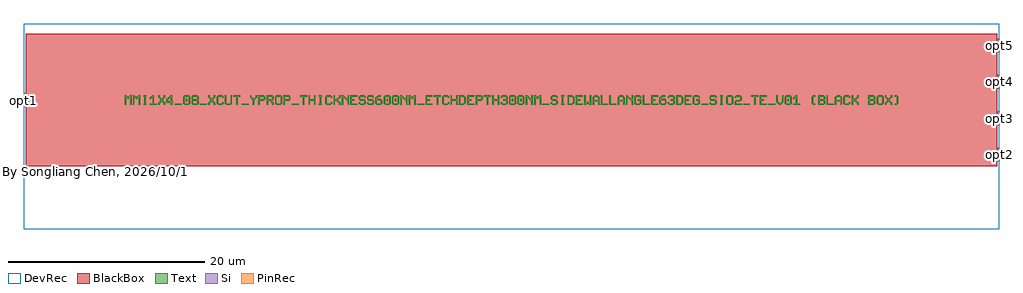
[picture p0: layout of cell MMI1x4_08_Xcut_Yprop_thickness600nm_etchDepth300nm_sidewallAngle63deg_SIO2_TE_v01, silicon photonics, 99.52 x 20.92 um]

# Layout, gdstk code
import gdstk
lib = gdstk.Library(unit=1e-6, precision=1e-10)
def R(c, l, rs):  # rectangles x0, y0, x1, y1
    for r in rs: c.add(gdstk.rectangle(r[:2], r[2:], *l))
def A(c, l, x, y, w, h, nx, ny, dx, dy):  # array of equal rectangles
    R(c, l, [(x+i*dx, y+j*dy, x+i*dx+w, y+j*dy+h) for i in range(nx) for j in range(ny)])
def P(c, l, *ps):  # polygons
    for p in ps: c.add(gdstk.Polygon(p, *l))
Si = (1, 0)
PinRec = (1, 10)
Text = (10, 0)
DevRec = (68, 0)
BlackBox = (998, 0)

text = lib.new_cell('TEXT')
A(text, Text, 17.04, 0, 0.71, 0.142, 3, 1, 12.78, 0)
R(text, Text, [(5.112,0,5.822,0.142), (7.668,0,8.378,0.142), (11.928,0,12.638,0.142), (58.788,0,59.498,0.142), (63.048,0,63.758,0.142), (65.604,0,66.314,0.142), (6.248,0.355,6.39,0.639), (26.696,0.355,26.838,0.639), (27.548,0.355,27.69,0.639), (39.476,0.355,39.618,0.639), (40.328,0.355,40.47,0.639), (67.592,0.355,67.734,0.639)])
P(text, Text, [(0,0),(0,0.995),(0.142,0.995),(0.284,0.852),(0.426,0.852),(0.568,0.995),(0.71,0.995),(0.71,0),(0.568,0),(0.568,0.71),(0.497,0.71),(0.355,0.568),(0.213,0.71),(0.142,0.71),(0.142,0)],
  [(0.852,0),(0.852,0.995),(0.994,0.995),(1.136,0.852),(1.278,0.852),(1.42,0.995),(1.562,0.995),(1.562,0),(1.42,0),(1.42,0.71),(1.349,0.71),(1.207,0.568),(1.065,0.71),(0.994,0.71),(0.994,0)],
  [(1.917,0),(1.917,0.142),(1.988,0.142),(1.988,0.852),(1.917,0.852),(1.917,0.995),(2.201,0.995),(2.201,0.852),(2.13,0.852),(2.13,0.142),(2.201,0.142),(2.201,0)],
  [(2.556,0),(2.556,0.142),(2.84,0.142),(2.84,0.71),(2.769,0.71),(2.627,0.568),(2.556,0.568),(2.556,0.71),(2.84,0.995),(2.982,0.995),(2.982,0.142),(3.266,0.142),(3.266,0)],
  [(3.408,0),(3.408,0.213),(3.621,0.426),(3.621,0.568),(3.408,0.781),(3.408,0.995),(3.55,0.995),(3.55,0.852),(3.763,0.639),(3.976,0.852),(3.976,0.995),(4.118,0.995),(4.118,0.781),(3.905,0.568),(3.905,0.426),(4.118,0.213),(4.118,0),(3.976,0),(3.976,0.142),(3.763,0.355),(3.55,0.142),(3.55,0)],
  [(4.686,0),(4.686,0.213),(4.26,0.213),(4.26,0.355),(4.686,0.355),(4.686,0.71),(4.615,0.71),(4.402,0.497),(4.402,0.355),(4.26,0.355),(4.26,0.568),(4.686,0.995),(4.828,0.995),(4.828,0.355),(4.97,0.355),(4.97,0.213),(4.828,0.213),(4.828,0)],
  [(6.106,0),(5.964,0.142),(5.964,0.852),(6.106,0.995),(6.532,0.995),(6.674,0.852),(6.177,0.852),(6.106,0.781),(6.106,0.213),(6.177,0.142),(6.461,0.142),(6.532,0.213),(6.532,0.781),(6.461,0.852),(6.674,0.852),(6.674,0.142),(6.532,0)],
  [(6.958,0),(6.816,0.142),(6.816,0.426),(6.887,0.497),(6.816,0.568),(6.816,0.852),(6.958,0.995),(7.384,0.995),(7.526,0.852),(7.029,0.852),(6.958,0.781),(6.958,0.639),(7.029,0.568),(7.313,0.568),(7.384,0.639),(7.384,0.781),(7.313,0.852),(7.526,0.852),(7.526,0.568),(7.455,0.497),(7.526,0.426),(7.029,0.426),(6.958,0.355),(6.958,0.213),(7.029,0.142),(7.313,0.142),(7.384,0.213),(7.384,0.355),(7.313,0.426),(7.526,0.426),(7.526,0.142),(7.384,0)],
  [(8.52,0),(8.52,0.213),(8.733,0.426),(8.733,0.568),(8.52,0.781),(8.52,0.995),(8.662,0.995),(8.662,0.852),(8.875,0.639),(9.088,0.852),(9.088,0.995),(9.23,0.995),(9.23,0.781),(9.017,0.568),(9.017,0.426),(9.23,0.213),(9.23,0),(9.088,0),(9.088,0.142),(8.875,0.355),(8.662,0.142),(8.662,0)],
  [(9.514,0),(9.372,0.142),(9.372,0.852),(9.514,0.995),(9.94,0.995),(10.082,0.852),(10.082,0.71),(9.94,0.71),(9.94,0.781),(9.869,0.852),(9.585,0.852),(9.514,0.781),(9.514,0.213),(9.585,0.142),(9.869,0.142),(9.94,0.213),(9.94,0.284),(10.082,0.284),(10.082,0.142),(9.94,0)],
  [(10.366,0),(10.224,0.142),(10.224,0.995),(10.366,0.995),(10.366,0.213),(10.437,0.142),(10.721,0.142),(10.792,0.213),(10.792,0.995),(10.934,0.995),(10.934,0.142),(10.792,0)],
  [(11.36,0),(11.36,0.852),(11.076,0.852),(11.076,0.995),(11.786,0.995),(11.786,0.852),(11.502,0.852),(11.502,0)],
  [(13.064,0),(13.064,0.497),(12.78,0.781),(12.78,0.995),(12.922,0.995),(12.922,0.852),(13.135,0.639),(13.348,0.852),(13.348,0.995),(13.49,0.995),(13.49,0.781),(13.206,0.497),(13.206,0)],
  [(13.632,0),(13.632,0.995),(14.2,0.995),(14.342,0.852),(14.342,0.568),(14.2,0.426),(13.774,0.426),(13.774,0.568),(14.129,0.568),(14.2,0.639),(14.2,0.781),(14.129,0.852),(13.774,0.852),(13.774,0)],
  [(14.484,0),(14.484,0.995),(15.052,0.995),(15.194,0.852),(14.626,0.852),(14.626,0.568),(14.981,0.568),(15.052,0.639),(15.052,0.781),(14.981,0.852),(15.194,0.852),(15.194,0.568),(15.052,0.426),(15.052,0.355),(15.194,0.213),(15.194,0),(15.052,0),(15.052,0.142),(14.768,0.426),(14.626,0.426),(14.626,0)],
  [(15.478,0),(15.336,0.142),(15.336,0.852),(15.478,0.995),(15.904,0.995),(16.046,0.852),(16.046,0.497),(15.904,0.497),(15.904,0.781),(15.833,0.852),(15.549,0.852),(15.478,0.781),(15.478,0.213),(15.549,0.142),(15.833,0.142),(15.904,0.213),(15.904,0.497),(16.046,0.497),(16.046,0.142),(15.904,0)],
  [(16.188,0),(16.188,0.995),(16.756,0.995),(16.898,0.852),(16.898,0.568),(16.756,0.426),(16.33,0.426),(16.33,0.568),(16.685,0.568),(16.756,0.639),(16.756,0.781),(16.685,0.852),(16.33,0.852),(16.33,0)],
  [(18.176,0),(18.176,0.852),(17.892,0.852),(17.892,0.995),(18.602,0.995),(18.602,0.852),(18.318,0.852),(18.318,0)],
  [(18.744,0),(18.744,0.995),(18.886,0.995),(18.886,0.568),(19.312,0.568),(19.312,0.995),(19.454,0.995),(19.454,0),(19.312,0),(19.312,0.426),(18.886,0.426),(18.886,0)],
  [(19.809,0),(19.809,0.142),(19.88,0.142),(19.88,0.852),(19.809,0.852),(19.809,0.995),(20.093,0.995),(20.093,0.852),(20.022,0.852),(20.022,0.142),(20.093,0.142),(20.093,0)],
  [(20.59,0),(20.448,0.142),(20.448,0.852),(20.59,0.995),(21.016,0.995),(21.158,0.852),(21.158,0.71),(21.016,0.71),(21.016,0.781),(20.945,0.852),(20.661,0.852),(20.59,0.781),(20.59,0.213),(20.661,0.142),(20.945,0.142),(21.016,0.213),(21.016,0.284),(21.158,0.284),(21.158,0.142),(21.016,0)],
  [(21.3,0),(21.3,0.995),(21.442,0.995),(21.442,0.568),(21.584,0.568),(21.868,0.852),(21.868,0.995),(22.01,0.995),(22.01,0.781),(21.726,0.497),(22.01,0.213),(22.01,0),(21.868,0),(21.868,0.142),(21.584,0.426),(21.442,0.426),(21.442,0)],
  [(22.152,0),(22.152,0.995),(22.294,0.995),(22.649,0.639),(22.72,0.639),(22.72,0.995),(22.862,0.995),(22.862,0),(22.72,0),(22.72,0.355),(22.365,0.71),(22.294,0.71),(22.294,0)],
  [(23.004,0),(23.004,0.995),(23.714,0.995),(23.714,0.852),(23.146,0.852),(23.146,0.568),(23.43,0.568),(23.43,0.426),(23.146,0.426),(23.146,0.142),(23.714,0.142),(23.714,0)],
  [(23.998,0),(23.856,0.142),(23.856,0.284),(23.998,0.284),(23.998,0.213),(24.069,0.142),(24.353,0.142),(24.424,0.213),(24.424,0.355),(24.353,0.426),(23.998,0.426),(23.856,0.568),(23.856,0.852),(23.998,0.995),(24.424,0.995),(24.566,0.852),(24.566,0.71),(24.424,0.71),(24.424,0.781),(24.353,0.852),(24.069,0.852),(23.998,0.781),(23.998,0.639),(24.069,0.568),(24.424,0.568),(24.566,0.426),(24.566,0.142),(24.424,0)],
  [(24.85,0),(24.708,0.142),(24.708,0.284),(24.85,0.284),(24.85,0.213),(24.921,0.142),(25.205,0.142),(25.276,0.213),(25.276,0.355),(25.205,0.426),(24.85,0.426),(24.708,0.568),(24.708,0.852),(24.85,0.995),(25.276,0.995),(25.418,0.852),(25.418,0.71),(25.276,0.71),(25.276,0.781),(25.205,0.852),(24.921,0.852),(24.85,0.781),(24.85,0.639),(24.921,0.568),(25.276,0.568),(25.418,0.426),(25.418,0.142),(25.276,0)],
  [(25.702,0),(25.56,0.142),(25.56,0.71),(25.844,0.995),(26.128,0.995),(26.128,0.852),(25.915,0.852),(25.773,0.71),(25.773,0.639),(26.128,0.639),(26.27,0.497),(25.773,0.497),(25.702,0.426),(25.702,0.213),(25.773,0.142),(26.057,0.142),(26.128,0.213),(26.128,0.426),(26.057,0.497),(26.27,0.497),(26.27,0.142),(26.128,0)],
  [(26.554,0),(26.412,0.142),(26.412,0.852),(26.554,0.995),(26.98,0.995),(27.122,0.852),(26.625,0.852),(26.554,0.781),(26.554,0.213),(26.625,0.142),(26.909,0.142),(26.98,0.213),(26.98,0.781),(26.909,0.852),(27.122,0.852),(27.122,0.142),(26.98,0)],
  [(27.406,0),(27.264,0.142),(27.264,0.852),(27.406,0.995),(27.832,0.995),(27.974,0.852),(27.477,0.852),(27.406,0.781),(27.406,0.213),(27.477,0.142),(27.761,0.142),(27.832,0.213),(27.832,0.781),(27.761,0.852),(27.974,0.852),(27.974,0.142),(27.832,0)],
  [(28.116,0),(28.116,0.995),(28.258,0.995),(28.613,0.639),(28.684,0.639),(28.684,0.995),(28.826,0.995),(28.826,0),(28.684,0),(28.684,0.355),(28.329,0.71),(28.258,0.71),(28.258,0)],
  [(28.968,0),(28.968,0.995),(29.11,0.995),(29.252,0.852),(29.394,0.852),(29.536,0.995),(29.678,0.995),(29.678,0),(29.536,0),(29.536,0.71),(29.465,0.71),(29.323,0.568),(29.181,0.71),(29.11,0.71),(29.11,0)],
  [(30.672,0),(30.672,0.995),(31.382,0.995),(31.382,0.852),(30.814,0.852),(30.814,0.568),(31.098,0.568),(31.098,0.426),(30.814,0.426),(30.814,0.142),(31.382,0.142),(31.382,0)],
  [(31.808,0),(31.808,0.852),(31.524,0.852),(31.524,0.995),(32.234,0.995),(32.234,0.852),(31.95,0.852),(31.95,0)],
  [(32.518,0),(32.376,0.142),(32.376,0.852),(32.518,0.995),(32.944,0.995),(33.086,0.852),(33.086,0.71),(32.944,0.71),(32.944,0.781),(32.873,0.852),(32.589,0.852),(32.518,0.781),(32.518,0.213),(32.589,0.142),(32.873,0.142),(32.944,0.213),(32.944,0.284),(33.086,0.284),(33.086,0.142),(32.944,0)],
  [(33.228,0),(33.228,0.995),(33.37,0.995),(33.37,0.568),(33.796,0.568),(33.796,0.995),(33.938,0.995),(33.938,0),(33.796,0),(33.796,0.426),(33.37,0.426),(33.37,0)],
  [(34.08,0),(34.08,0.995),(34.577,0.995),(34.719,0.852),(34.222,0.852),(34.222,0.142),(34.506,0.142),(34.648,0.284),(34.648,0.71),(34.506,0.852),(34.719,0.852),(34.79,0.781),(34.79,0.213),(34.577,0)],
  [(34.932,0),(34.932,0.995),(35.642,0.995),(35.642,0.852),(35.074,0.852),(35.074,0.568),(35.358,0.568),(35.358,0.426),(35.074,0.426),(35.074,0.142),(35.642,0.142),(35.642,0)],
  [(35.784,0),(35.784,0.995),(36.352,0.995),(36.494,0.852),(36.494,0.568),(36.352,0.426),(35.926,0.426),(35.926,0.568),(36.281,0.568),(36.352,0.639),(36.352,0.781),(36.281,0.852),(35.926,0.852),(35.926,0)],
  [(36.92,0),(36.92,0.852),(36.636,0.852),(36.636,0.995),(37.346,0.995),(37.346,0.852),(37.062,0.852),(37.062,0)],
  [(37.488,0),(37.488,0.995),(37.63,0.995),(37.63,0.568),(38.056,0.568),(38.056,0.995),(38.198,0.995),(38.198,0),(38.056,0),(38.056,0.426),(37.63,0.426),(37.63,0)],
  [(38.482,0),(38.34,0.142),(38.34,0.284),(38.482,0.284),(38.482,0.213),(38.553,0.142),(38.837,0.142),(38.908,0.213),(38.908,0.355),(38.837,0.426),(38.624,0.426),(38.624,0.568),(38.837,0.568),(38.908,0.639),(38.908,0.781),(38.837,0.852),(38.553,0.852),(38.482,0.781),(38.482,0.71),(38.34,0.71),(38.34,0.852),(38.482,0.995),(38.908,0.995),(39.05,0.852),(39.05,0.568),(38.979,0.497),(39.05,0.426),(39.05,0.142),(38.908,0)],
  [(39.334,0),(39.192,0.142),(39.192,0.852),(39.334,0.995),(39.76,0.995),(39.902,0.852),(39.405,0.852),(39.334,0.781),(39.334,0.213),(39.405,0.142),(39.689,0.142),(39.76,0.213),(39.76,0.781),(39.689,0.852),(39.902,0.852),(39.902,0.142),(39.76,0)],
  [(40.186,0),(40.044,0.142),(40.044,0.852),(40.186,0.995),(40.612,0.995),(40.754,0.852),(40.257,0.852),(40.186,0.781),(40.186,0.213),(40.257,0.142),(40.541,0.142),(40.612,0.213),(40.612,0.781),(40.541,0.852),(40.754,0.852),(40.754,0.142),(40.612,0)],
  [(40.896,0),(40.896,0.995),(41.038,0.995),(41.393,0.639),(41.464,0.639),(41.464,0.995),(41.606,0.995),(41.606,0),(41.464,0),(41.464,0.355),(41.109,0.71),(41.038,0.71),(41.038,0)],
  [(41.748,0),(41.748,0.995),(41.89,0.995),(42.032,0.852),(42.174,0.852),(42.316,0.995),(42.458,0.995),(42.458,0),(42.316,0),(42.316,0.71),(42.245,0.71),(42.103,0.568),(41.961,0.71),(41.89,0.71),(41.89,0)],
  [(43.594,0),(43.452,0.142),(43.452,0.284),(43.594,0.284),(43.594,0.213),(43.665,0.142),(43.949,0.142),(44.02,0.213),(44.02,0.355),(43.949,0.426),(43.594,0.426),(43.452,0.568),(43.452,0.852),(43.594,0.995),(44.02,0.995),(44.162,0.852),(44.162,0.71),(44.02,0.71),(44.02,0.781),(43.949,0.852),(43.665,0.852),(43.594,0.781),(43.594,0.639),(43.665,0.568),(44.02,0.568),(44.162,0.426),(44.162,0.142),(44.02,0)],
  [(44.517,0),(44.517,0.142),(44.588,0.142),(44.588,0.852),(44.517,0.852),(44.517,0.995),(44.801,0.995),(44.801,0.852),(44.73,0.852),(44.73,0.142),(44.801,0.142),(44.801,0)],
  [(45.156,0),(45.156,0.995),(45.653,0.995),(45.795,0.852),(45.298,0.852),(45.298,0.142),(45.582,0.142),(45.724,0.284),(45.724,0.71),(45.582,0.852),(45.795,0.852),(45.866,0.781),(45.866,0.213),(45.653,0)],
  [(46.008,0),(46.008,0.995),(46.718,0.995),(46.718,0.852),(46.15,0.852),(46.15,0.568),(46.434,0.568),(46.434,0.426),(46.15,0.426),(46.15,0.142),(46.718,0.142),(46.718,0)],
  [(46.86,0),(46.86,0.995),(47.002,0.995),(47.002,0.213),(47.073,0.213),(47.215,0.355),(47.357,0.213),(47.428,0.213),(47.428,0.995),(47.57,0.995),(47.57,0),(47.357,0),(47.215,0.142),(47.073,0)],
  [(47.712,0),(47.712,0.781),(47.925,0.995),(48.209,0.995),(48.351,0.852),(47.996,0.852),(47.854,0.71),(47.854,0.497),(48.28,0.497),(48.28,0.71),(48.138,0.852),(48.351,0.852),(48.422,0.781),(48.422,0),(48.28,0),(48.28,0.355),(47.854,0.355),(47.854,0)],
  [(48.564,0),(48.564,0.995),(48.706,0.995),(48.706,0.142),(49.274,0.142),(49.274,0)],
  [(49.416,0),(49.416,0.995),(49.558,0.995),(49.558,0.142),(50.126,0.142),(50.126,0)],
  [(50.268,0),(50.268,0.781),(50.481,0.995),(50.765,0.995),(50.907,0.852),(50.552,0.852),(50.41,0.71),(50.41,0.497),(50.836,0.497),(50.836,0.71),(50.694,0.852),(50.907,0.852),(50.978,0.781),(50.978,0),(50.836,0),(50.836,0.355),(50.41,0.355),(50.41,0)],
  [(51.12,0),(51.12,0.995),(51.262,0.995),(51.617,0.639),(51.688,0.639),(51.688,0.995),(51.83,0.995),(51.83,0),(51.688,0),(51.688,0.355),(51.333,0.71),(51.262,0.71),(51.262,0)],
  [(52.114,0),(51.972,0.142),(51.972,0.852),(52.114,0.995),(52.54,0.995),(52.682,0.852),(52.682,0.71),(52.54,0.71),(52.54,0.781),(52.469,0.852),(52.185,0.852),(52.114,0.781),(52.114,0.213),(52.185,0.142),(52.469,0.142),(52.54,0.213),(52.54,0.426),(52.327,0.426),(52.327,0.568),(52.682,0.568),(52.682,0.142),(52.54,0)],
  [(52.824,0),(52.824,0.995),(52.966,0.995),(52.966,0.142),(53.534,0.142),(53.534,0)],
  [(53.676,0),(53.676,0.995),(54.386,0.995),(54.386,0.852),(53.818,0.852),(53.818,0.568),(54.102,0.568),(54.102,0.426),(53.818,0.426),(53.818,0.142),(54.386,0.142),(54.386,0)],
  [(54.67,0),(54.528,0.142),(54.528,0.71),(54.812,0.995),(55.096,0.995),(55.096,0.852),(54.883,0.852),(54.741,0.71),(54.741,0.639),(55.096,0.639),(55.238,0.497),(54.741,0.497),(54.67,0.426),(54.67,0.213),(54.741,0.142),(55.025,0.142),(55.096,0.213),(55.096,0.426),(55.025,0.497),(55.238,0.497),(55.238,0.142),(55.096,0)],
  [(55.522,0),(55.38,0.142),(55.38,0.284),(55.522,0.284),(55.522,0.213),(55.593,0.142),(55.877,0.142),(55.948,0.213),(55.948,0.355),(55.877,0.426),(55.664,0.426),(55.664,0.568),(55.877,0.568),(55.948,0.639),(55.948,0.781),(55.877,0.852),(55.593,0.852),(55.522,0.781),(55.522,0.71),(55.38,0.71),(55.38,0.852),(55.522,0.995),(55.948,0.995),(56.09,0.852),(56.09,0.568),(56.019,0.497),(56.09,0.426),(56.09,0.142),(55.948,0)],
  [(56.232,0),(56.232,0.995),(56.729,0.995),(56.871,0.852),(56.374,0.852),(56.374,0.142),(56.658,0.142),(56.8,0.284),(56.8,0.71),(56.658,0.852),(56.871,0.852),(56.942,0.781),(56.942,0.213),(56.729,0)],
  [(57.084,0),(57.084,0.995),(57.794,0.995),(57.794,0.852),(57.226,0.852),(57.226,0.568),(57.51,0.568),(57.51,0.426),(57.226,0.426),(57.226,0.142),(57.794,0.142),(57.794,0)],
  [(58.078,0),(57.936,0.142),(57.936,0.852),(58.078,0.995),(58.504,0.995),(58.646,0.852),(58.646,0.71),(58.504,0.71),(58.504,0.781),(58.433,0.852),(58.149,0.852),(58.078,0.781),(58.078,0.213),(58.149,0.142),(58.433,0.142),(58.504,0.213),(58.504,0.426),(58.291,0.426),(58.291,0.568),(58.646,0.568),(58.646,0.142),(58.504,0)],
  [(59.782,0),(59.64,0.142),(59.64,0.284),(59.782,0.284),(59.782,0.213),(59.853,0.142),(60.137,0.142),(60.208,0.213),(60.208,0.355),(60.137,0.426),(59.782,0.426),(59.64,0.568),(59.64,0.852),(59.782,0.995),(60.208,0.995),(60.35,0.852),(60.35,0.71),(60.208,0.71),(60.208,0.781),(60.137,0.852),(59.853,0.852),(59.782,0.781),(59.782,0.639),(59.853,0.568),(60.208,0.568),(60.35,0.426),(60.35,0.142),(60.208,0)],
  [(60.705,0),(60.705,0.142),(60.776,0.142),(60.776,0.852),(60.705,0.852),(60.705,0.995),(60.989,0.995),(60.989,0.852),(60.918,0.852),(60.918,0.142),(60.989,0.142),(60.989,0)],
  [(61.486,0),(61.344,0.142),(61.344,0.852),(61.486,0.995),(61.912,0.995),(62.054,0.852),(62.054,0.497),(61.912,0.497),(61.912,0.781),(61.841,0.852),(61.557,0.852),(61.486,0.781),(61.486,0.213),(61.557,0.142),(61.841,0.142),(61.912,0.213),(61.912,0.497),(62.054,0.497),(62.054,0.142),(61.912,0)],
  [(62.196,0),(62.196,0.355),(62.338,0.497),(62.693,0.497),(62.764,0.568),(62.764,0.781),(62.693,0.852),(62.409,0.852),(62.338,0.781),(62.338,0.71),(62.196,0.71),(62.196,0.852),(62.338,0.995),(62.764,0.995),(62.906,0.852),(62.906,0.497),(62.764,0.355),(62.409,0.355),(62.338,0.284),(62.338,0.142),(62.906,0.142),(62.906,0)],
  [(64.184,0),(64.184,0.852),(63.9,0.852),(63.9,0.995),(64.61,0.995),(64.61,0.852),(64.326,0.852),(64.326,0)],
  [(64.752,0),(64.752,0.995),(65.462,0.995),(65.462,0.852),(64.894,0.852),(64.894,0.568),(65.178,0.568),(65.178,0.426),(64.894,0.426),(64.894,0.142),(65.462,0.142),(65.462,0)],
  [(66.74,0),(66.456,0.284),(66.456,0.995),(66.598,0.995),(66.598,0.355),(66.811,0.142),(67.024,0.355),(67.024,0.995),(67.166,0.995),(67.166,0.284),(66.882,0)],
  [(67.45,0),(67.308,0.142),(67.308,0.852),(67.45,0.995),(67.876,0.995),(68.018,0.852),(67.521,0.852),(67.45,0.781),(67.45,0.213),(67.521,0.142),(67.805,0.142),(67.876,0.213),(67.876,0.781),(67.805,0.852),(68.018,0.852),(68.018,0.142),(67.876,0)],
  [(68.16,0),(68.16,0.142),(68.444,0.142),(68.444,0.71),(68.373,0.71),(68.231,0.568),(68.16,0.568),(68.16,0.71),(68.444,0.995),(68.586,0.995),(68.586,0.142),(68.87,0.142),(68.87,0)],
  [(70.219,0),(70.077,0.142),(70.077,0.852),(70.219,0.995),(70.432,0.995),(70.432,0.852),(70.29,0.852),(70.219,0.781),(70.219,0.213),(70.29,0.142),(70.432,0.142),(70.432,0)],
  [(70.716,0),(70.716,0.995),(71.284,0.995),(71.426,0.852),(70.858,0.852),(70.858,0.568),(71.213,0.568),(71.284,0.639),(71.284,0.781),(71.213,0.852),(71.426,0.852),(71.426,0.568),(71.355,0.497),(71.426,0.426),(70.858,0.426),(70.858,0.142),(71.213,0.142),(71.284,0.213),(71.284,0.355),(71.213,0.426),(71.426,0.426),(71.426,0.142),(71.284,0)],
  [(71.568,0),(71.568,0.995),(71.71,0.995),(71.71,0.142),(72.278,0.142),(72.278,0)],
  [(72.42,0),(72.42,0.781),(72.633,0.995),(72.917,0.995),(73.059,0.852),(72.704,0.852),(72.562,0.71),(72.562,0.497),(72.988,0.497),(72.988,0.71),(72.846,0.852),(73.059,0.852),(73.13,0.781),(73.13,0),(72.988,0),(72.988,0.355),(72.562,0.355),(72.562,0)],
  [(73.414,0),(73.272,0.142),(73.272,0.852),(73.414,0.995),(73.84,0.995),(73.982,0.852),(73.982,0.71),(73.84,0.71),(73.84,0.781),(73.769,0.852),(73.485,0.852),(73.414,0.781),(73.414,0.213),(73.485,0.142),(73.769,0.142),(73.84,0.213),(73.84,0.284),(73.982,0.284),(73.982,0.142),(73.84,0)],
  [(74.124,0),(74.124,0.995),(74.266,0.995),(74.266,0.568),(74.408,0.568),(74.692,0.852),(74.692,0.995),(74.834,0.995),(74.834,0.781),(74.55,0.497),(74.834,0.213),(74.834,0),(74.692,0),(74.692,0.142),(74.408,0.426),(74.266,0.426),(74.266,0)],
  [(75.828,0),(75.828,0.995),(76.396,0.995),(76.538,0.852),(75.97,0.852),(75.97,0.568),(76.325,0.568),(76.396,0.639),(76.396,0.781),(76.325,0.852),(76.538,0.852),(76.538,0.568),(76.467,0.497),(76.538,0.426),(75.97,0.426),(75.97,0.142),(76.325,0.142),(76.396,0.213),(76.396,0.355),(76.325,0.426),(76.538,0.426),(76.538,0.142),(76.396,0)],
  [(76.822,0),(76.68,0.142),(76.68,0.852),(76.822,0.995),(77.248,0.995),(77.39,0.852),(77.39,0.497),(77.248,0.497),(77.248,0.781),(77.177,0.852),(76.893,0.852),(76.822,0.781),(76.822,0.213),(76.893,0.142),(77.177,0.142),(77.248,0.213),(77.248,0.497),(77.39,0.497),(77.39,0.142),(77.248,0)],
  [(77.532,0),(77.532,0.213),(77.745,0.426),(77.745,0.568),(77.532,0.781),(77.532,0.995),(77.674,0.995),(77.674,0.852),(77.887,0.639),(78.1,0.852),(78.1,0.995),(78.242,0.995),(78.242,0.781),(78.029,0.568),(78.029,0.426),(78.242,0.213),(78.242,0),(78.1,0),(78.1,0.142),(77.887,0.355),(77.674,0.142),(77.674,0)],
  [(78.526,0),(78.526,0.142),(78.668,0.142),(78.739,0.213),(78.739,0.781),(78.668,0.852),(78.526,0.852),(78.526,0.995),(78.739,0.995),(78.881,0.852),(78.881,0.142),(78.739,0)])

mmi1x4_08_xcut_yprop_thi = lib.new_cell('MMI1x4_08_Xcut_Yprop_thickness600nm_etchDepth300nm_sidewallAngle63deg_SIO2_TE_v01')
R(mmi1x4_08_xcut_yprop_thi, Si, [(49.55,-6.2586,49.75,-4.8586), (49.55,-2.5529,49.75,-1.1529), (-49.75,-0.7,-49.55,0.7), (49.55,1.1529,49.75,2.5529), (49.55,4.8586,49.75,6.2586)])
R(mmi1x4_08_xcut_yprop_thi, DevRec, [(-49.75,-13.1586,49.75,7.7586)])
R(mmi1x4_08_xcut_yprop_thi, BlackBox, [(-49.55,-6.7586,49.55,6.7586)])
mmi1x4_08_xcut_yprop_thi.add(gdstk.FlexPath([(-49.74,0),(-49.76,0)], 1.4, ends="flush", simple_path=True, layer=1, datatype=10))  # PinRec
mmi1x4_08_xcut_yprop_thi.add(gdstk.FlexPath([(49.74,-5.5586),(49.76,-5.5586)], 1.4, ends="flush", simple_path=True, layer=1, datatype=10))  # PinRec
mmi1x4_08_xcut_yprop_thi.add(gdstk.FlexPath([(49.74,-1.8529),(49.76,-1.8529)], 1.4, ends="flush", simple_path=True, layer=1, datatype=10))  # PinRec
mmi1x4_08_xcut_yprop_thi.add(gdstk.FlexPath([(49.74,1.8529),(49.76,1.8529)], 1.4, ends="flush", simple_path=True, layer=1, datatype=10))  # PinRec
mmi1x4_08_xcut_yprop_thi.add(gdstk.FlexPath([(49.74,5.5586),(49.76,5.5586)], 1.4, ends="flush", simple_path=True, layer=1, datatype=10))  # PinRec
mmi1x4_08_xcut_yprop_thi.add(gdstk.Reference(text, (-39.4405,-0.4975)))
mmi1x4_08_xcut_yprop_thi.add(gdstk.Label('opt1', (-49.75,0), layer=1, texttype=10))
mmi1x4_08_xcut_yprop_thi.add(gdstk.Label('opt2', (49.75,-5.5586), layer=1, texttype=10))
mmi1x4_08_xcut_yprop_thi.add(gdstk.Label('opt3', (49.75,-1.8529), layer=1, texttype=10))
mmi1x4_08_xcut_yprop_thi.add(gdstk.Label('opt4', (49.75,1.8529), layer=1, texttype=10))
mmi1x4_08_xcut_yprop_thi.add(gdstk.Label('opt5', (49.75,5.5586), layer=1, texttype=10))
mmi1x4_08_xcut_yprop_thi.add(gdstk.Label('By Songliang Chen, 2026/10/13', (-49.25,-7.2586), layer=10, texttype=0))

lib.write_gds('MMI1x4_08_Xcut_Yprop_thickness600nm_etchDepth300nm_sidewallAngle63deg_SIO2_TE_v01.gds')
